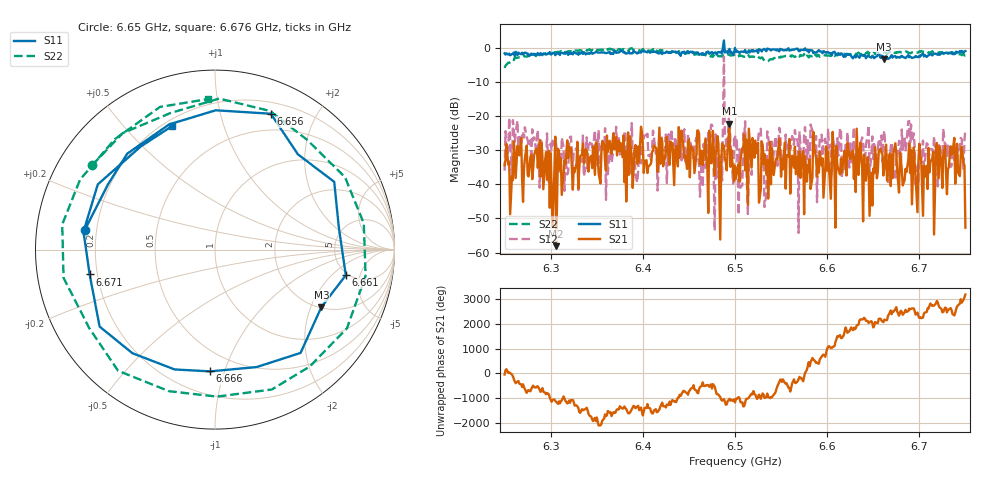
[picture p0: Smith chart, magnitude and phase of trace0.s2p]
# Hz S RI R 50
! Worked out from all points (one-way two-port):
!   401 points, 6.25 GHz to 6.75 GHz, reference 50 ohm
!   highest |S21| = -22.33 dB at 6.494 GHz (marker M1); lowest = -58.1 dB at 6.306 GHz (marker M2)
!   lowest |S11| = -3.4 dB at 6.662 GHz (marker M3), VSWR 5.13, Z = 102 - j119 ohm
!   |S11| at or under -10 dB: nowhere
!   |S22| runs from -5.9 to -0.2 dB; largest |S21 - S12| = 0.7
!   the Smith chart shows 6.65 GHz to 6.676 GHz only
!   S11 on the Smith chart (normalised r, x): 6.65 GHz: 0.16, +0.07; 6.656 GHz: 0.32, +1.44; 6.661 GHz: 4.78, -3.04; 6.666 GHz: 0.36, -0.90; 6.671 GHz: 0.17, -0.10; 6.676 GHz: 0.23, +0.69
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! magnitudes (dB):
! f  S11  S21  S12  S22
! 6.25 GHz  -1.7  -34.5  -36.0  -5.9
! 6.261 GHz  -2.4  -30.7  -27.6  -2.9
! 6.306 GHz  -1.8  -58.1  -28.5  -1.4
! 6.334 GHz  -1.5  -31.3  -33.5  -1.0
! 6.418 GHz  -1.7  -23.4  -30.3  -1.0
! 6.462 GHz  -2.0  -34.2  -43.7  -1.9
! 6.474 GHz  -1.5  -33.9  -22.6  -2.7
! 6.48 GHz  -2.0  -30.2  -38.2  -2.5
! 6.494 GHz  -0.4  -22.3  -17.7  -2.2
! 6.5 GHz  -0.1  -34.6  -25.6  -2.6
! 6.584 GHz  -0.9  -38.0  -24.3  -2.5
! 6.65 GHz  -2.7  -35.5  -32.5  -1.6
! 6.656 GHz  -1.7  -30.3  -26.7  -2.0
! 6.661 GHz  -2.6  -37.4  -26.4  -1.4
! 6.662 GHz  -3.4  -35.6  -24.3  -1.5
! 6.666 GHz  -3.4  -35.2  -39.4  -1.6
! 6.668 GHz  -3.0  -31.0  -33.4  -1.3
! 6.671 GHz  -3.0  -38.2  -33.3  -1.3
! 6.676 GHz  -2.7  -36.2  -32.0  -1.5
! 6.735 GHz  -1.3  -31.3  -34.6  -1.5
! 6.746 GHz  -1.0  -29.0  -26.8  -2.2
! 6.75 GHz  -1.0  -52.7  -24.0  -2.3
